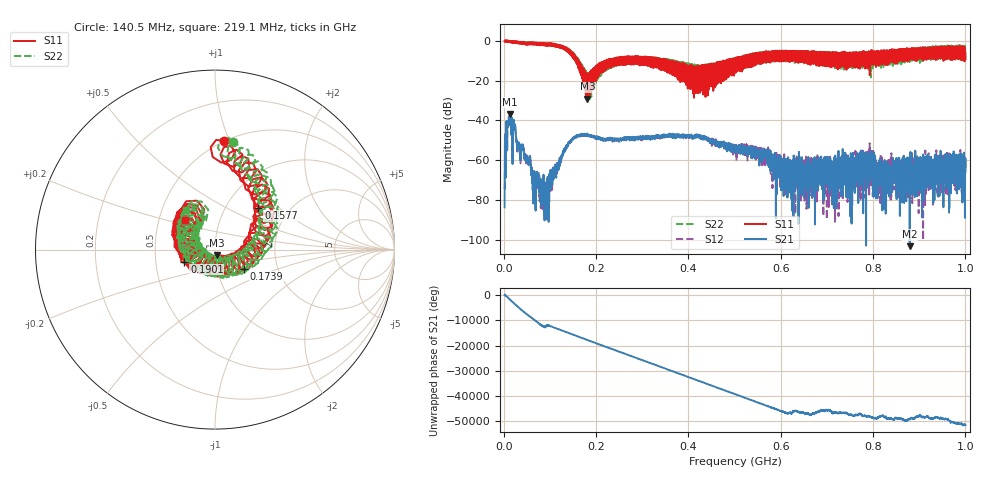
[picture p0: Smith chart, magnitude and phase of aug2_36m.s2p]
!Keysight Technologies N9923A: A.12.45
!Date: Saturday, 02 August 2025 19:26:23
!Timezone: (UTC+08:00) Kuala Lumpur, Singapore
!Model: N9923A
!Serial: MY61181427
!GPS Latitude:
!GPS Longitude:
!GPS TimeStamp: 0001-01-01 00:00:00Z
!GPS Seconds Since Last Read: 0
!CHECKSUM:1580044069
!Correction: S11(ON U)S21(ON U)S12(ON U)S22(ON U)
!S2P File: Measurements:S11,S21,S12,S22:
# Hz S DB R 50
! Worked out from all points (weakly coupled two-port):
!   4001 points, 2 MHz to 1 GHz, reference 50 ohm
!   highest |S21| = -36.71 dB at 13.98 MHz (marker M1); lowest = -103.2 dB at 879.5 MHz (marker M2)
!   lowest |S11| = -29.2 dB at 181.1 MHz (marker M3), VSWR 1.07, Z = 51.1 - j3.35 ohm
!   |S11| at or under -10 dB: 162.2 MHz to 220.3 MHz (58.05 MHz wide, 30.4 % of centre); 220.3 MHz to 223.4 MHz (3.082 MHz wide, 1.39 % of centre); 357.8 MHz to 483 MHz (125.2 MHz wide, 29.8 % of centre) (the widest 3 of 303)
!   |S22| runs from -29.2 to 0.1 dB; largest |S21 - S12| = 0.0025
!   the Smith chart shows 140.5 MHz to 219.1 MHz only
!   S11 on the Smith chart (normalised r, x): 140.5 MHz: 0.50, +0.96; 157.7 MHz: 1.41, +0.74; 173.9 MHz: 1.35, -0.30; 190.1 MHz: 0.70, -0.10; 219.1 MHz: 0.68, +0.23
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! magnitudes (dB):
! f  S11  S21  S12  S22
! 2 MHz  -0.1  -83.6  -73.9  -0.1
! 7.739 MHz  -0.5  -45.8  -45.6  -0.4
! 13.98 MHz  -0.7  -36.7  -36.8  -0.7
! 32.44 MHz  -1.2  -52.8  -53.1  -1.2
! 85.08 MHz  -1.6  -74.0  -76.2  -1.7
! 140.5 MHz  -4.3  -51.0  -51.4  -4.3
! 157.7 MHz  -9.5  -48.2  -48.0  -8.2
! 168.4 MHz  -15.0  -47.0  -46.8  -15.8
! 173.9 MHz  -14.2  -47.0  -47.3  -13.9
! 181.1 MHz  -29.2  -46.6  -47.7  -20.4
! 190.1 MHz  -14.7  -47.5  -47.6  -17.2
! 219.1 MHz  -12.6  -49.4  -49.4  -11.2
! 334.8 MHz  -11.7  -48.2  -48.7  -9.2
! 417.2 MHz  -26.0  -48.3  -48.2  -15.4
! 501 MHz  -12.0  -54.9  -53.6  -14.1
! 570.6 MHz  -6.8  -59.4  -55.7  -5.8
! 626.7 MHz  -8.2  -64.6  -64.4  -7.4
! 667.4 MHz  -6.1  -74.9  -60.9  -10.9
! 791.2 MHz  -11.5  -59.9  -63.1  -5.4
! 833.8 MHz  -6.1  -66.2  -59.8  -8.4
! 879.5 MHz  -4.1  -103.2  -68.7  -10.7
! 1 GHz  -6.1  -60.0  -63.9  -2.8
